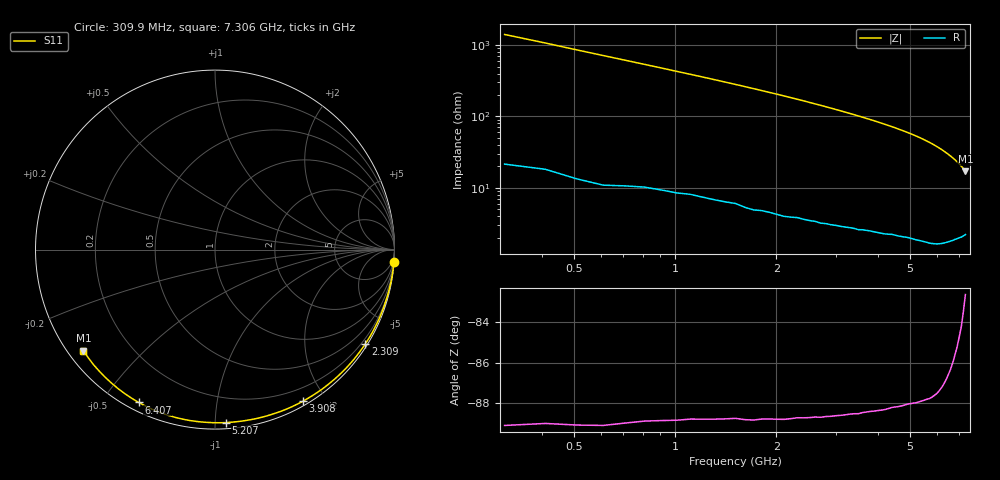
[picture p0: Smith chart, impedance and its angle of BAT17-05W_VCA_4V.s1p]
! Infineon Technologies  Discrete & RF Semiconductors
! BAT17-05W
! VCA = 4 V
! One-Port S-Parameters
# Hz  S  MA  R  50
!f  S11
!Hz  Mag  Ang
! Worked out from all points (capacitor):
!   71 points, 309.9 MHz to 7.306 GHz, reference 50 ohm
!   read as one part to ground: C = 363 fF near 309.9 MHz
!   lowest |Z| = 17.1 ohm at 7.306 GHz (marker M1)
!   S11 on the Smith chart (normalised r, x): 309.9 MHz: 0, -28; 2.309 GHz: 0.08, -3.48; 3.908 GHz: 0.05, -1.74; 5.207 GHz: 0.04, -1.06; 6.407 GHz: 0.03, -0.62; 7.306 GHz: 0.04, -0.34
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3.0985e8  0.9989 -4.1
7.0965e8  0.9972 -9.3
1.2094e9  0.9943 -16.0
1.70915e9  0.9923 -23.0
2.10895e9  0.9901 -29.0
2.30885e9  0.9885 -32.1
2.50875e9  0.9874 -35.2
2.70865e9  0.9862 -38.5
3.0085e9  0.9838 -43.6
3.4083e9  0.9806 -50.6
3.8081e9  0.9771 -58.0
3.90805e9  0.9764 -59.8
4.10795e9  0.9748 -63.7
4.30785e9  0.9728 -67.6
4.70765e9  0.9694 -75.7
5.0075e9  0.9668 -82.1
5.2074e9  0.9658 -86.4
5.4073e9  0.9643 -91.0
5.6072e9  0.963 -95.8
5.8071e9  0.9617 -100.7
6.007e9  0.9595 -105.8
6.2069e9  0.9561 -111.1
6.4068e9  0.9518 -116.6
6.50675e9  0.9493 -119.3
6.70665e9  0.9441 -124.9
6.90655e9  0.9383 -130.6
7.10645e9  0.9325 -136.5
7.30635e9  0.9242 -142.5
